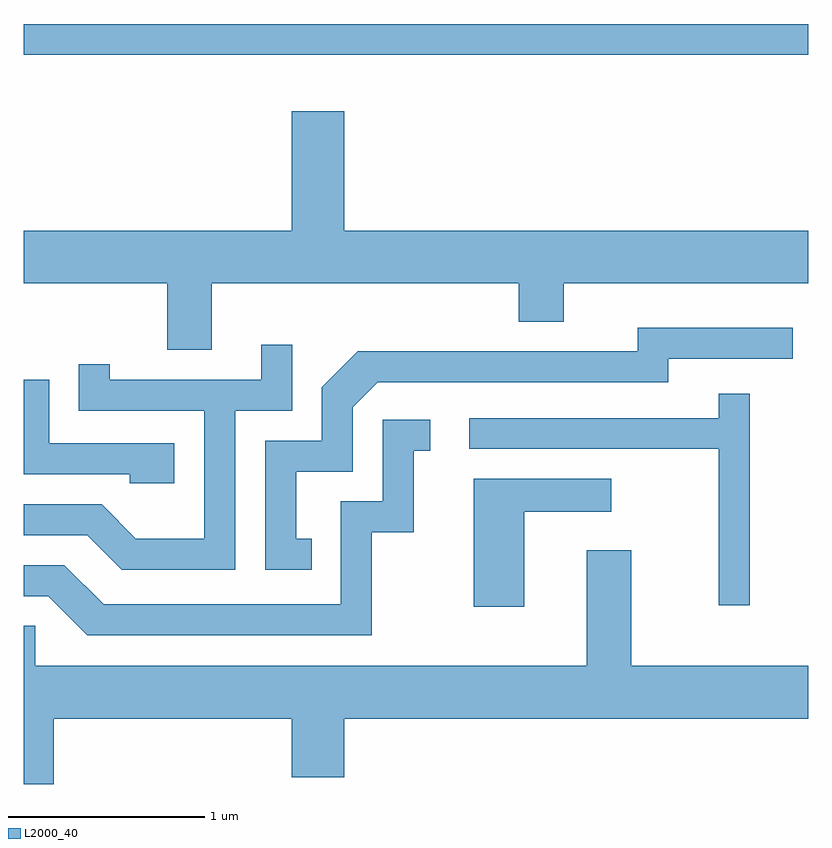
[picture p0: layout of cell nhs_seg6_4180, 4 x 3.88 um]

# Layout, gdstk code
import gdstk
lib = gdstk.Library(unit=1e-6, precision=1e-09)
def R(c, l, rs):  # rectangles x0, y0, x1, y1
    for r in rs: c.add(gdstk.rectangle(r[:2], r[2:], *l))
def P(c, l, *ps):  # polygons
    for p in ps: c.add(gdstk.Polygon(p, *l))
L2000_40 = (2000, 40)

nhs_seg6_4180 = lib.new_cell('nhs_seg6_4180')
R(nhs_seg6_4180, L2000_40, [(313.611,1537.881,317.611,1538.039)])
P(nhs_seg6_4180, L2000_40, [(314.569,1536.716),(316.136,1536.716),(316.136,1536.521),(316.364,1536.521),(316.364,1536.716),(317.611,1536.716),(317.611,1536.984),(315.244,1536.984),(315.244,1537.594),(314.976,1537.594),(314.976,1536.984),(313.611,1536.984),(313.611,1536.716),(314.341,1536.716),(314.341,1536.376),(314.569,1536.376)],
  [(315.078,1535.414),(314.999,1535.414),(314.999,1535.756),(315.289,1535.756),(315.289,1536.084),(315.417,1536.211),(316.899,1536.211),(316.899,1536.331),(317.533,1536.331),(317.533,1536.489),(316.741,1536.489),(316.741,1536.369),(315.314,1536.369),(315.131,1536.187),(315.131,1535.914),(314.841,1535.914),(314.841,1535.256),(315.078,1535.256)],
  [(314.689,1536.066),(314.979,1536.066),(314.979,1536.403),(314.821,1536.403),(314.821,1536.224),(314.049,1536.224),(314.049,1536.303),(313.891,1536.303),(313.891,1536.066),(314.531,1536.066),(314.531,1535.414),(314.182,1535.414),(314.007,1535.589),(313.611,1535.589),(313.611,1535.431),(313.934,1535.431),(314.109,1535.256),(314.689,1535.256)],
  [(314.379,1535.899),(313.739,1535.899),(313.739,1536.224),(313.611,1536.224),(313.611,1535.741),(314.151,1535.741),(314.151,1535.696),(314.379,1535.696)],
  [(317.314,1536.153),(317.156,1536.153),(317.156,1536.029),(315.883,1536.029),(315.883,1535.871),(317.156,1535.871),(317.156,1535.073),(317.314,1535.073)],
  [(315.384,1535.446),(315.599,1535.446),(315.599,1535.861),(315.683,1535.861),(315.683,1536.019),(315.441,1536.019),(315.441,1535.604),(315.226,1535.604),(315.226,1535.079),(314.017,1535.079),(313.817,1535.279),(313.611,1535.279),(313.611,1535.121),(313.734,1535.121),(313.934,1534.921),(315.384,1534.921)],
  [(316.164,1535.551),(316.608,1535.551),(316.608,1535.719),(315.906,1535.719),(315.906,1535.066),(316.164,1535.066)],
  [(313.764,1534.496),(314.976,1534.496),(314.976,1534.196),(315.244,1534.196),(315.244,1534.496),(317.611,1534.496),(317.611,1534.764),(316.709,1534.764),(316.709,1535.354),(316.481,1535.354),(316.481,1534.764),(313.669,1534.764),(313.669,1534.969),(313.611,1534.969),(313.611,1534.162),(313.764,1534.162)])

lib.write_gds('nhs_seg6_4180.gds')
